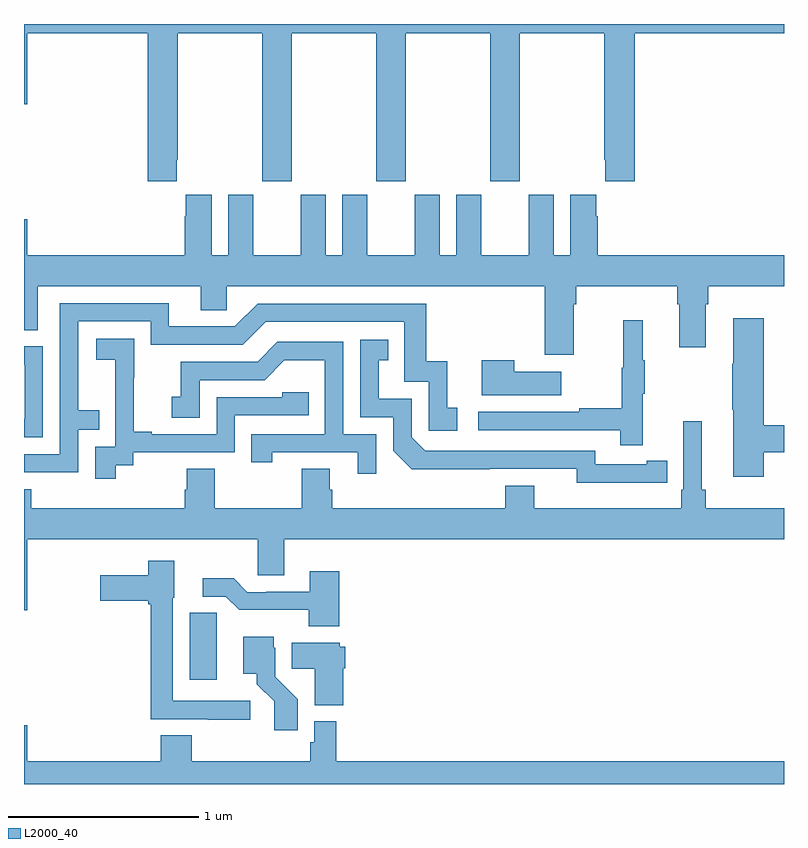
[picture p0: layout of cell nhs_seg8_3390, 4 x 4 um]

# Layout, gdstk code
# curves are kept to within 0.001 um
import gdstk
lib = gdstk.Library(unit=1e-6, precision=1e-09)
def P(c, l, *ps):  # polygons
    for p in ps: c.add(gdstk.Polygon(p, *l))
L2000_40 = (2000, 40)

nhs_seg8_3390 = lib.new_cell('nhs_seg8_3390')
P(nhs_seg8_3390, L2000_40, [(321,1097.478),(321.016,1097.478),(321.016,1097.852),(321.65,1097.852),(321.65,1097.073),(321.805,1097.073),(321.805,1097.185),(321.81,1097.185),(321.81,1097.852),(322.255,1097.852),(322.255,1097.073),(322.41,1097.073),(322.41,1097.852),(322.855,1097.852),(322.855,1097.073),(323.01,1097.073),(323.01,1097.852),(323.455,1097.852),(323.455,1097.073),(323.61,1097.073),(323.61,1097.852),(324.055,1097.852),(324.055,1097.185),(324.059,1097.185),(324.059,1097.073),(324.215,1097.073),(324.215,1097.852),(325,1097.852),(325,1097.9),(321,1097.9)],
  [(323.893,1096.424),(323.906,1096.424),(323.906,1096.52),(324.437,1096.52),(324.437,1096.424),(324.449,1096.424),(324.449,1096.2),(324.589,1096.2),(324.589,1096.424),(324.602,1096.424),(324.602,1096.52),(325,1096.52),(325,1096.684),(324.02,1096.684),(324.02,1096.889),(324.013,1096.889),(324.013,1097.002),(323.876,1097.002),(323.876,1096.684),(323.788,1096.684),(323.788,1097.002),(323.657,1097.002),(323.657,1096.684),(323.407,1096.684),(323.407,1097.002),(323.276,1097.002),(323.276,1096.684),(323.188,1096.684),(323.188,1097.002),(323.057,1097.002),(323.057,1096.684),(322.807,1096.684),(322.807,1097.002),(322.676,1097.002),(322.676,1096.684),(322.588,1096.684),(322.588,1097.002),(322.457,1097.002),(322.457,1096.684),(322.207,1096.684),(322.207,1097.002),(322.076,1097.002),(322.076,1096.684),(321.988,1096.684),(321.988,1097.002),(321.851,1097.002),(321.851,1096.889),(321.845,1096.889),(321.845,1096.684),(321.016,1096.684),(321.016,1096.873),(321,1096.873),(321,1096.288),(321.073,1096.288),(321.073,1096.52),(321.929,1096.52),(321.929,1096.393),(322.068,1096.393),(322.068,1096.52),(323.741,1096.52),(323.741,1096.158),(323.893,1096.158)],
  [(321.285,1095.765),(321.395,1095.765),(321.395,1095.866),(321.285,1095.866),(321.285,1096.335),(321.666,1096.335),(321.666,1096.212),(322.152,1096.212),(322.272,1096.332),(323.001,1096.332),(323.001,1096.017),(323.13,1096.017),(323.13,1095.759),(323.281,1095.759),(323.281,1095.879),(323.228,1095.879),(323.228,1096.126),(323.117,1096.126),(323.117,1096.428),(322.23,1096.428),(322.11,1096.308),(321.763,1096.308),(321.763,1096.431),(321.189,1096.431),(321.189,1095.636),(321,1095.636),(321,1095.54),(321.285,1095.54)],
  [(324.893,1095.646),(325,1095.646),(325,1095.788),(324.893,1095.788),(324.893,1096.351),(324.734,1096.351),(324.734,1096.112),(324.727,1096.112),(324.727,1095.871),(324.734,1095.871),(324.734,1095.516),(324.893,1095.516)],
  [(324.257,1095.955),(324.268,1095.955),(324.268,1096.129),(324.257,1096.129),(324.257,1096.342),(324.154,1096.342),(324.154,1096.092),(324.147,1096.092),(324.147,1095.878),(323.923,1095.878),(323.923,1095.858),(323.391,1095.858),(323.391,1095.762),(324.139,1095.762),(324.139,1095.684),(324.257,1095.684)],
  [(321.484,1095.577),(321.576,1095.577),(321.576,1095.645),(322.11,1095.645),(322.11,1095.84),(322.499,1095.84),(322.499,1095.963),(322.359,1095.963),(322.359,1095.936),(322.014,1095.936),(322.014,1095.741),(321.673,1095.741),(321.673,1095.754),(321.578,1095.754),(321.578,1096.037),(321.579,1096.037),(321.579,1096.243),(321.381,1096.243),(321.381,1096.133),(321.479,1096.133),(321.479,1095.905),(321.48,1095.905),(321.48,1095.675),(321.375,1095.675),(321.375,1095.507),(321.484,1095.507)],
  [(324.278,1095.486),(324.386,1095.486),(324.386,1095.602),(324.278,1095.602),(324.278,1095.582),(324.006,1095.582),(324.006,1095.654),(323.112,1095.654),(323.04,1095.726),(323.04,1095.927),(322.867,1095.927),(322.867,1096.131),(322.916,1096.131),(322.916,1096.237),(322.77,1096.237),(322.77,1095.831),(322.944,1095.831),(322.944,1095.654),(323.042,1095.557),(323.91,1095.558),(323.91,1095.485)],
  [(322.854,1095.741),(322.68,1095.741),(322.68,1096.227),(322.334,1096.227),(322.229,1096.122),(321.826,1096.122),(321.826,1095.937),(321.777,1095.937),(321.777,1095.828),(321.924,1095.828),(321.924,1096.026),(322.266,1096.026),(322.37,1096.13),(322.584,1096.13),(322.584,1095.741),(322.195,1095.741),(322.195,1095.594),(322.306,1095.594),(322.306,1095.645),(322.757,1095.645),(322.757,1095.534),(322.854,1095.534)],
  [(321.099,1096.203),(321,1096.203),(321,1096.107),(321.003,1096.107),(321.003,1095.822),(321,1095.822),(321,1095.726),(321.099,1095.726)],
  [(323.827,1096.069),(323.579,1096.069),(323.579,1096.129),(323.408,1096.129),(323.408,1095.947),(323.827,1095.947)],
  [(321.016,1095.188),(322.23,1095.188),(322.23,1094.998),(322.369,1094.998),(322.369,1095.188),(325,1095.188),(325,1095.352),(324.587,1095.352),(324.587,1095.448),(324.568,1095.448),(324.568,1095.808),(324.471,1095.808),(324.471,1095.448),(324.458,1095.448),(324.458,1095.352),(323.686,1095.352),(323.686,1095.469),(323.534,1095.469),(323.534,1095.352),(322.622,1095.352),(322.622,1095.45),(322.609,1095.45),(322.609,1095.56),(322.462,1095.56),(322.462,1095.352),(322.005,1095.352),(322.005,1095.56),(321.857,1095.56),(321.857,1095.45),(321.845,1095.45),(321.845,1095.352),(321.038,1095.352),(321.038,1095.451),(321,1095.451),(321,1094.814),(321.016,1094.814)],
  [(322.192,1094.337),(321.783,1094.337),(321.783,1094.88),(321.79,1094.88),(321.79,1095.076),(321.654,1095.076),(321.654,1094.998),(321.402,1094.998),(321.402,1094.864),(321.654,1094.864),(321.654,1094.846),(321.667,1094.846),(321.667,1094.241),(321.967,1094.241),(321.967,1094.239),(322.192,1094.239)],
  [(322.658,1095.019),(322.505,1095.019),(322.505,1094.913),(322.276,1094.913),(322.276,1094.91),(322.176,1094.91),(322.103,1094.983),(321.942,1094.983),(321.942,1094.886),(322.062,1094.886),(322.133,1094.816),(322.498,1094.816),(322.498,1094.729),(322.658,1094.729)],
  [(322.015,1094.69),(322.014,1094.69),(322.014,1094.801),(321.872,1094.801),(321.872,1094.448),(322.015,1094.448)],
  [(322.442,1094.346),(322.323,1094.465),(322.323,1094.616),(322.315,1094.616),(322.315,1094.674),(322.154,1094.674),(322.154,1094.48),(322.226,1094.48),(322.226,1094.425),(322.317,1094.335),(322.317,1094.184),(322.442,1094.184)],
  [(322.679,1094.508),(322.691,1094.508),(322.691,1094.622),(322.662,1094.622),(322.662,1094.644),(322.408,1094.644),(322.408,1094.506),(322.529,1094.506),(322.529,1094.315),(322.679,1094.315)],
  [(325,1094.02),(322.643,1094.02),(322.643,1094.23),(322.527,1094.23),(322.527,1094.121),(322.507,1094.121),(322.507,1094.02),(321.884,1094.02),(321.884,1094.156),(321.719,1094.156),(321.719,1094.02),(321.016,1094.02),(321.016,1094.209),(321,1094.209),(321,1093.9),(325,1093.9)])

lib.write_gds('nhs_seg8_3390.gds')
